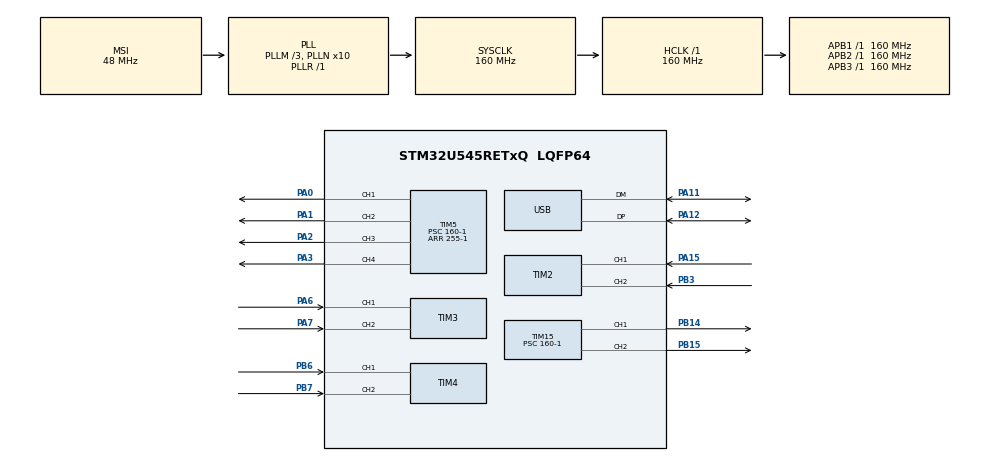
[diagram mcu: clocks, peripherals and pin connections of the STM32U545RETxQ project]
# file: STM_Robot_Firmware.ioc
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CORTEX_M33_NS.userName=CORTEX_M33
Mcu.Family=STM32U5
Mcu.Name=STM32U545RETxQ
Mcu.Package=LQFP64
NVIC.PriorityGroup=NVIC_PRIORITYGROUP_4
NVIC.TIM2_IRQn=true\:0\:0\:false\:false\:true\:false\:true\:true\:true
NVIC.TIM3_IRQn=true\:0\:0\:false\:false\:true\:false\:true\:true\:true
NVIC.TIM4_IRQn=true\:0\:0\:false\:false\:true\:false\:true\:true\:true
NVIC.TIM6_IRQn=true\:15\:0\:false\:false\:true\:false\:false\:true\:true
NVIC.TimeBase=TIM6_IRQn
NVIC.TimeBaseIP=TIM6
NVIC.USB_IRQn=true\:7\:0\:true\:false\:true\:false\:true\:true\:true
PA0.Signal=S_TIM5_CH1
PA1.Signal=S_TIM5_CH2
PA11.Mode=Device
PA11.Signal=USB_DM
PA12.Mode=Device
PA12.Signal=USB_DP
PA15\ (JTDI).Signal=S_TIM2_CH1
PA2.Signal=S_TIM5_CH3
PA3.Signal=S_TIM5_CH4
PA6.Signal=S_TIM3_CH1
PA7.Signal=S_TIM3_CH2
PB14.Signal=S_TIM15_CH1
PB15.Signal=S_TIM15_CH2
PB3\ (JTDO/TRACESWO).Signal=S_TIM2_CH2
PB6.Signal=S_TIM4_CH1
PB7.Signal=S_TIM4_CH2
PH0-OSC_IN\ (PH0).Mode=HSE-External-Clock-Source
PH0-OSC_IN\ (PH0).Signal=RCC_OSC_IN
PWR.PowerMode=PWR_SMPS_SUPPLY
ProjectManager.HeapSize=0x200
ProjectManager.StackSize=0x400
ProjectManager.TargetToolchain=STM32CubeIDE
RCC.ADCFreq_Value=16000000
RCC.AHBFreq_Value=160000000
RCC.APB1Freq_Value=160000000
RCC.APB1TimFreq_Value=160000000
RCC.APB2Freq_Value=160000000
RCC.APB2TimFreq_Value=160000000
RCC.APB3Freq_Value=160000000
RCC.CortexFreq_Value=160000000
RCC.DACCLockSelectionVirtual=RCC_DAC1CLKSOURCE_LSI
RCC.DACCLockSelectionVirtualString=RCC_DAC1CLKSOURCE_LSI
RCC.EPOD_VALUE=48000000
RCC.HCLKFreq_Value=160000000
RCC.HSE_VALUE=16000000
RCC.HSI48_VALUE=48000000
RCC.HSI_VALUE=16000000
RCC.LSE_VALUE=32768
RCC.LSIDIV_VALUE=32000
RCC.MSIClockRange=RCC_MSIRANGE_0
RCC.MSI_VALUE=48000000
RCC.PLL1R=1
RCC.PLL2FRACN=0
RCC.PLL3FRACN=0
RCC.PLLFRACN=0
RCC.PLLM=3
RCC.PLLN=10
RCC.SYSCLKFreq_VALUE=160000000
RCC.SYSCLKSource=RCC_SYSCLKSOURCE_PLLCLK
RCC.USBFreq_Value=48000000
RCC.VCOOutputFreq_Value=160000000
SH.S_TIM15_CH1.0=TIM15_CH1,PWM Generation1 CH1
SH.S_TIM15_CH2.0=TIM15_CH2,PWM Generation2 CH2
SH.S_TIM2_CH1.0=TIM2_CH1,Encoder_Interface
SH.S_TIM2_CH2.0=TIM2_CH2,Encoder_Interface
SH.S_TIM3_CH1.0=TIM3_CH1,Encoder_Interface
SH.S_TIM3_CH2.0=TIM3_CH2,Encoder_Interface
SH.S_TIM4_CH1.0=TIM4_CH1,Encoder_Interface
SH.S_TIM4_CH2.0=TIM4_CH2,Encoder_Interface
SH.S_TIM5_CH1.0=TIM5_CH1,PWM Generation1 CH1
SH.S_TIM5_CH2.0=TIM5_CH2,PWM Generation2 CH2
SH.S_TIM5_CH3.0=TIM5_CH3,PWM Generation3 CH3
SH.S_TIM5_CH4.0=TIM5_CH4,PWM Generation4 CH4
TIM15.Channel-PWM\ Generation1\ CH1=TIM_CHANNEL_1
TIM15.Channel-PWM\ Generation2\ CH2=TIM_CHANNEL_2
TIM15.PeriodNoDither=255-1
TIM15.Prescaler=160-1
TIM2.EncoderMode=TIM_ENCODERMODE_TI12
TIM3.EncoderMode=TIM_ENCODERMODE_TI12
TIM4.EncoderMode=TIM_ENCODERMODE_TI12
TIM5.Channel-PWM\ Generation1\ CH1=TIM_CHANNEL_1
TIM5.Channel-PWM\ Generation2\ CH2=TIM_CHANNEL_2
TIM5.Channel-PWM\ Generation3\ CH3=TIM_CHANNEL_3
TIM5.Channel-PWM\ Generation4\ CH4=TIM_CHANNEL_4
TIM5.PeriodNoDither=255-1
TIM5.Prescaler=160-1
USBX.Core_System=1
USBX.MAX_POWER_IN_MILLI_AMPER=0
USBX.USBD_CDCACM_EPINCMD_ADDR=2
USBX.USBD_CDCACM_EPIN_ADDR=1
USBX.USBD_PID=22336
USBX.USBD_PRODUCT_STRING=STM32 Virtual ComPort
USBX.USBD_SERIAL_NUMBER=CDC_ACM001
USBX.USBX_DEVICE_SYS_SIZE=4*1024
USBX.UX_DEVICE_APP_MEM_POOL_SIZE=11*1024
USBX.UX_DEVICE_CDC_ACM=1
USBX.UX_DEVICE_CLASS_CDC_ACM_WRITE_AUTO_ZLP=1
USBX.UX_Device_Controller=1
USBX.UX_Device_CoreStack=1
USBX.UX_MAX_SLAVE_CLASS_DRIVER=1
USBX.UX_SLAVE_REQUEST_DATA_MAX_LENGTH=512
VP_ICACHE_VS_ICACHE.Mode=DirectMappedCache
VP_LPBAMQUEUE_VS_QUEUE.Mode=QUEUEMODE
VP_LPBAM_VS_SIG1.Mode=SmartRun
VP_LPBAM_VS_SIG4.Mode=LPDMA1
VP_MEMORYMAP_VS_MEMORYMAP.Mode=CurAppReg
VP_PWR_VS_DBSignals.Mode=DisableDeadBatterySignals
VP_PWR_VS_LPOM.Mode=PowerOptimisation
VP_PWR_VS_SECSignals.Mode=Security/Privilege
VP_RCC_USB.Mode=CRS SYNC Source USB
VP_SYS_VS_tim6.Mode=TIM6
VP_THREADX_VS_RTOSJjThreadXJjCoreJjDefault.Mode=Core_Default
VP_TIM15_VS_ClockSourceINT.Mode=Internal
VP_TIM5_VS_ClockSourceINT.Mode=Internal
VP_USBX_Core_System.Mode=Core_System
VP_USBX_UX\ Device\ CDC\ ACM\ Class_FS.Mode=UX_Device_class_CDC_ACM_FS
VP_USBX_UX\ Device\ Controller_FS.Mode=UX_Device_Controller_FS
VP_USBX_UX\ Device\ CoreStack_FS.Mode=UX_Device_CoreStack_FS
board=custom

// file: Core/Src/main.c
/* USER CODE BEGIN Header */
/**
  ******************************************************************************
  * @file           : main.c
  * @brief          : Main program body
  ******************************************************************************
  * @attention
  *
  * Copyright (c) 2025 STMicroelectronics.
  * All rights reserved.
  *
  * This software is licensed under terms that can be found in the LICENSE file
  * in the root directory of this software component.
  * If no LICENSE file comes with this software, it is provided AS-IS.
  *
  ******************************************************************************
  */
/* USER CODE END Header */
#include "app_threadx.h"
#include "main.h"

/* USER CODE BEGIN Includes */

#include "defines.h"
#include "pin_mapping.h"
#include "robot_data.h"

/* USER CODE END Includes */

TIM_HandleTypeDef htim2;
TIM_HandleTypeDef htim3;
TIM_HandleTypeDef htim4;
TIM_HandleTypeDef htim5;
TIM_HandleTypeDef htim15;

PCD_HandleTypeDef hpcd_USB_DRD_FS;

/* USER CODE BEGIN PV */

Motors motors_data[3];

/* USER CODE END PV */

void SystemClock_Config(void);
static void SystemPower_Config(void);
static void MX_GPIO_Init(void);
static void MX_ICACHE_Init(void);
static void MX_TIM2_Init(void);
static void MX_TIM3_Init(void);
static void MX_TIM4_Init(void);
static void MX_TIM5_Init(void);
static void MX_TIM15_Init(void);

/* USER CODE BEGIN 0 */

void HAL_TIM_IC_CaptureCallback(TIM_HandleTypeDef *htim)
{
	if(htim == ENCODER_0)
	{
		motors_data[0].encoder.last_count = __HAL_TIM_GET_COUNTER(htim);
	}
	else if (htim == ENCODER_1)
	{
		motors_data[1].encoder.last_count = __HAL_TIM_GET_COUNTER(htim);
	}
	else
	{
		motors_data[2].encoder.last_count = __HAL_TIM_GET_COUNTER(htim);
	}
}

/* USER CODE END 0 */

int main(void)
{

  /* MCU Configuration--------------------------------------------------------*/

  /* Reset of all peripherals, Initializes the Flash interface and the Systick. */
  HAL_Init();

  /* USER CODE BEGIN Init */

  Init_Motors_Data();

  /* USER CODE END Init */

  /* Configure the System Power */
  SystemPower_Config();

  /* Configure the system clock */
  SystemClock_Config();

  /* Initialize all configured peripherals */
  MX_GPIO_Init();
  MX_ICACHE_Init();
  MX_TIM2_Init();
  MX_TIM3_Init();
  MX_TIM4_Init();
  MX_TIM5_Init();
  MX_TIM15_Init();
  /* USER CODE BEGIN 2 */

	HAL_TIM_Encoder_Start_IT(ENCODER_0, TIM_CHANNEL_ALL);
	HAL_TIM_Encoder_Start_IT(ENCODER_1, TIM_CHANNEL_ALL);
	HAL_TIM_Encoder_Start_IT(ENCODER_2, TIM_CHANNEL_ALL);

  HAL_TIM_PWM_Start(&htim5, TIM_CHANNEL_1);
  HAL_TIM_PWM_Start(&htim5, TIM_CHANNEL_2);
  HAL_TIM_PWM_Start(&htim5, TIM_CHANNEL_3);
  HAL_TIM_PWM_Start(&htim5, TIM_CHANNEL_4);
  HAL_TIM_PWM_Start(&htim15, TIM_CHANNEL_1);
  HAL_TIM_PWM_Start(&htim15, TIM_CHANNEL_2);

  /* USER CODE END 2 */

  MX_ThreadX_Init();

  /* We should never get here as control is now taken by the scheduler */

  /* Infinite loop */
  while (1)
  {

  }
}

void SystemClock_Config(void)
{
  RCC_OscInitTypeDef RCC_OscInitStruct = {0};
  RCC_ClkInitTypeDef RCC_ClkInitStruct = {0};
  RCC_CRSInitTypeDef RCC_CRSInitStruct = {0};

  /** Configure the main internal regulator output voltage
  */
  if (HAL_PWREx_ControlVoltageScaling(PWR_REGULATOR_VOLTAGE_SCALE1) != HAL_OK)
  {
    Error_Handler();
  }

  /** Initializes the CPU, AHB and APB buses clocks
  */
  RCC_OscInitStruct.OscillatorType = RCC_OSCILLATORTYPE_HSI48|RCC_OSCILLATORTYPE_MSI;
  RCC_OscInitStruct.HSI48State = RCC_HSI48_ON;
  RCC_OscInitStruct.MSIState = RCC_MSI_ON;
  RCC_OscInitStruct.MSICalibrationValue = RCC_MSICALIBRATION_DEFAULT;
  RCC_OscInitStruct.MSIClockRange = RCC_MSIRANGE_0;
  RCC_OscInitStruct.PLL.PLLState = RCC_PLL_ON;
  RCC_OscInitStruct.PLL.PLLSource = RCC_PLLSOURCE_MSI;
  RCC_OscInitStruct.PLL.PLLMBOOST = RCC_PLLMBOOST_DIV4;
  RCC_OscInitStruct.PLL.PLLM = 3;
  RCC_OscInitStruct.PLL.PLLN = 10;
  RCC_OscInitStruct.PLL.PLLP = 2;
  RCC_OscInitStruct.PLL.PLLQ = 2;
  RCC_OscInitStruct.PLL.PLLR = 1;
  RCC_OscInitStruct.PLL.PLLRGE = RCC_PLLVCIRANGE_1;
  RCC_OscInitStruct.PLL.PLLFRACN = 0;
  if (HAL_RCC_OscConfig(&RCC_OscInitStruct) != HAL_OK)
  {
    Error_Handler();
  }

  /** Initializes the CPU, AHB and APB buses clocks
  */
  RCC_ClkInitStruct.ClockType = RCC_CLOCKTYPE_HCLK|RCC_CLOCKTYPE_SYSCLK
                              |RCC_CLOCKTYPE_PCLK1|RCC_CLOCKTYPE_PCLK2
                              |RCC_CLOCKTYPE_PCLK3;
  RCC_ClkInitStruct.SYSCLKSource = RCC_SYSCLKSOURCE_PLLCLK;
  RCC_ClkInitStruct.AHBCLKDivider = RCC_SYSCLK_DIV1;
  RCC_ClkInitStruct.APB1CLKDivider = RCC_HCLK_DIV1;
  RCC_ClkInitStruct.APB2CLKDivider = RCC_HCLK_DIV1;
  RCC_ClkInitStruct.APB3CLKDivider = RCC_HCLK_DIV1;

  if (HAL_RCC_ClockConfig(&RCC_ClkInitStruct, FLASH_LATENCY_4) != HAL_OK)
  {
    Error_Handler();
  }

  /** Enable the SYSCFG APB clock
  */
  __HAL_RCC_CRS_CLK_ENABLE();

  /** Configures CRS
  */
  RCC_CRSInitStruct.Prescaler = RCC_CRS_SYNC_DIV1;
  RCC_CRSInitStruct.Source = RCC_CRS_SYNC_SOURCE_USB;
  RCC_CRSInitStruct.Polarity = RCC_CRS_SYNC_POLARITY_RISING;
  RCC_CRSInitStruct.ReloadValue = __HAL_RCC_CRS_RELOADVALUE_CALCULATE(48000000,1000);
  RCC_CRSInitStruct.ErrorLimitValue = 34;
  RCC_CRSInitStruct.HSI48CalibrationValue = 32;

  HAL_RCCEx_CRSConfig(&RCC_CRSInitStruct);
}

/**
  * @brief Power Configuration
  * @retval None
  */
static void SystemPower_Config(void)
{

  /*
   * Switch to SMPS regulator instead of LDO
   */
  if (HAL_PWREx_ConfigSupply(PWR_SMPS_SUPPLY) != HAL_OK)
  {
    Error_Handler();
  }
}

static void MX_ICACHE_Init(void)
{

  /** Enable instruction cache in 1-way (direct mapped cache)
  */
  if (HAL_ICACHE_ConfigAssociativityMode(ICACHE_1WAY) != HAL_OK)
  {
    Error_Handler();
  }
  if (HAL_ICACHE_Enable() != HAL_OK)
  {
    Error_Handler();
  }

}

static void MX_TIM2_Init(void)
{

  TIM_Encoder_InitTypeDef sConfig = {0};
  TIM_MasterConfigTypeDef sMasterConfig = {0};

  htim2.Instance = TIM2;
  htim2.Init.Prescaler = 0;
  htim2.Init.CounterMode = TIM_COUNTERMODE_UP;
  htim2.Init.Period = 4294967295;
  htim2.Init.ClockDivision = TIM_CLOCKDIVISION_DIV1;
  htim2.Init.AutoReloadPreload = TIM_AUTORELOAD_PRELOAD_DISABLE;
  sConfig.EncoderMode = TIM_ENCODERMODE_TI12;
  sConfig.IC1Polarity = TIM_ICPOLARITY_RISING;
  sConfig.IC1Selection = TIM_ICSELECTION_DIRECTTI;
  sConfig.IC1Prescaler = TIM_ICPSC_DIV1;
  sConfig.IC1Filter = 0;
  sConfig.IC2Polarity = TIM_ICPOLARITY_RISING;
  sConfig.IC2Selection = TIM_ICSELECTION_DIRECTTI;
  sConfig.IC2Prescaler = TIM_ICPSC_DIV1;
  sConfig.IC2Filter = 0;
  if (HAL_TIM_Encoder_Init(&htim2, &sConfig) != HAL_OK)
  {
    Error_Handler();
  }
  sMasterConfig.MasterOutputTrigger = TIM_TRGO_RESET;
  sMasterConfig.MasterSlaveMode = TIM_MASTERSLAVEMODE_DISABLE;
  if (HAL_TIMEx_MasterConfigSynchronization(&htim2, &sMasterConfig) != HAL_OK)
  {
    Error_Handler();
  }

}

static void MX_TIM3_Init(void)
{

  TIM_Encoder_InitTypeDef sConfig = {0};
  TIM_MasterConfigTypeDef sMasterConfig = {0};

  htim3.Instance = TIM3;
  htim3.Init.Prescaler = 0;
  htim3.Init.CounterMode = TIM_COUNTERMODE_UP;
  htim3.Init.Period = 4294967295;
  htim3.Init.ClockDivision = TIM_CLOCKDIVISION_DIV1;
  htim3.Init.AutoReloadPreload = TIM_AUTORELOAD_PRELOAD_DISABLE;
  sConfig.EncoderMode = TIM_ENCODERMODE_TI12;
  sConfig.IC1Polarity = TIM_ICPOLARITY_RISING;
  sConfig.IC1Selection = TIM_ICSELECTION_DIRECTTI;
  sConfig.IC1Prescaler = TIM_ICPSC_DIV1;
  sConfig.IC1Filter = 0;
  sConfig.IC2Polarity = TIM_ICPOLARITY_RISING;
  sConfig.IC2Selection = TIM_ICSELECTION_DIRECTTI;
  sConfig.IC2Prescaler = TIM_ICPSC_DIV1;
  sConfig.IC2Filter = 0;
  if (HAL_TIM_Encoder_Init(&htim3, &sConfig) != HAL_OK)
  {
    Error_Handler();
  }
  sMasterConfig.MasterOutputTrigger = TIM_TRGO_RESET;
  sMasterConfig.MasterSlaveMode = TIM_MASTERSLAVEMODE_DISABLE;
  if (HAL_TIMEx_MasterConfigSynchronization(&htim3, &sMasterConfig) != HAL_OK)
  {
    Error_Handler();
  }

}

static void MX_TIM4_Init(void)
{

  TIM_Encoder_InitTypeDef sConfig = {0};
  TIM_MasterConfigTypeDef sMasterConfig = {0};

  htim4.Instance = TIM4;
  htim4.Init.Prescaler = 0;
  htim4.Init.CounterMode = TIM_COUNTERMODE_UP;
  htim4.Init.Period = 4294967295;
  htim4.Init.ClockDivision = TIM_CLOCKDIVISION_DIV1;
  htim4.Init.AutoReloadPreload = TIM_AUTORELOAD_PRELOAD_DISABLE;
  sConfig.EncoderMode = TIM_ENCODERMODE_TI12;
  sConfig.IC1Polarity = TIM_ICPOLARITY_RISING;
  sConfig.IC1Selection = TIM_ICSELECTION_DIRECTTI;
  sConfig.IC1Prescaler = TIM_ICPSC_DIV1;
  sConfig.IC1Filter = 0;
  sConfig.IC2Polarity = TIM_ICPOLARITY_RISING;
  sConfig.IC2Selection = TIM_ICSELECTION_DIRECTTI;
  sConfig.IC2Prescaler = TIM_ICPSC_DIV1;
  sConfig.IC2Filter = 0;
  if (HAL_TIM_Encoder_Init(&htim4, &sConfig) != HAL_OK)
  {
    Error_Handler();
  }
  sMasterConfig.MasterOutputTrigger = TIM_TRGO_RESET;
  sMasterConfig.MasterSlaveMode = TIM_MASTERSLAVEMODE_DISABLE;
  if (HAL_TIMEx_MasterConfigSynchronization(&htim4, &sMasterConfig) != HAL_OK)
  {
    Error_Handler();
  }

}

static void MX_TIM5_Init(void)
{

  TIM_ClockConfigTypeDef sClockSourceConfig = {0};
  TIM_MasterConfigTypeDef sMasterConfig = {0};
  TIM_OC_InitTypeDef sConfigOC = {0};

  htim5.Instance = TIM5;
  htim5.Init.Prescaler = 160-1;
  htim5.Init.CounterMode = TIM_COUNTERMODE_UP;
  htim5.Init.Period = 254;
  htim5.Init.ClockDivision = TIM_CLOCKDIVISION_DIV1;
  htim5.Init.AutoReloadPreload = TIM_AUTORELOAD_PRELOAD_DISABLE;
  if (HAL_TIM_Base_Init(&htim5) != HAL_OK)
  {
    Error_Handler();
  }
  sClockSourceConfig.ClockSource = TIM_CLOCKSOURCE_INTERNAL;
  if (HAL_TIM_ConfigClockSource(&htim5, &sClockSourceConfig) != HAL_OK)
  {
    Error_Handler();
  }
  if (HAL_TIM_PWM_Init(&htim5) != HAL_OK)
  {
    Error_Handler();
  }
  sMasterConfig.MasterOutputTrigger = TIM_TRGO_RESET;
  sMasterConfig.MasterSlaveMode = TIM_MASTERSLAVEMODE_DISABLE;
  if (HAL_TIMEx_MasterConfigSynchronization(&htim5, &sMasterConfig) != HAL_OK)
  {
    Error_Handler();
  }
  sConfigOC.OCMode = TIM_OCMODE_PWM1;
  sConfigOC.Pulse = 0;
  sConfigOC.OCPolarity = TIM_OCPOLARITY_HIGH;
  sConfigOC.OCFastMode = TIM_OCFAST_DISABLE;
  if (HAL_TIM_PWM_ConfigChannel(&htim5, &sConfigOC, TIM_CHANNEL_1) != HAL_OK)
  {
    Error_Handler();
  }
  if (HAL_TIM_PWM_ConfigChannel(&htim5, &sConfigOC, TIM_CHANNEL_2) != HAL_OK)
  {
    Error_Handler();
  }
  if (HAL_TIM_PWM_ConfigChannel(&htim5, &sConfigOC, TIM_CHANNEL_3) != HAL_OK)
  {
    Error_Handler();
  }
  if (HAL_TIM_PWM_ConfigChannel(&htim5, &sConfigOC, TIM_CHANNEL_4) != HAL_OK)
  {
    Error_Handler();
  }
  HAL_TIM_MspPostInit(&htim5);

}

static void MX_TIM15_Init(void)
{

  TIM_ClockConfigTypeDef sClockSourceConfig = {0};
  TIM_MasterConfigTypeDef sMasterConfig = {0};
  TIM_OC_InitTypeDef sConfigOC = {0};
  TIM_BreakDeadTimeConfigTypeDef sBreakDeadTimeConfig = {0};

  htim15.Instance = TIM15;
  htim15.Init.Prescaler = 160-1;
  htim15.Init.CounterMode = TIM_COUNTERMODE_UP;
  htim15.Init.Period = 254;
  htim15.Init.ClockDivision = TIM_CLOCKDIVISION_DIV1;
  htim15.Init.RepetitionCounter = 0;
  htim15.Init.AutoReloadPreload = TIM_AUTORELOAD_PRELOAD_DISABLE;
  if (HAL_TIM_Base_Init(&htim15) != HAL_OK)
  {
    Error_Handler();
  }
  sClockSourceConfig.ClockSource = TIM_CLOCKSOURCE_INTERNAL;
  if (HAL_TIM_ConfigClockSource(&htim15, &sClockSourceConfig) != HAL_OK)
  {
    Error_Handler();
  }
  if (HAL_TIM_PWM_Init(&htim15) != HAL_OK)
  {
    Error_Handler();
  }
  sMasterConfig.MasterOutputTrigger = TIM_TRGO_RESET;
  sMasterConfig.MasterSlaveMode = TIM_MASTERSLAVEMODE_DISABLE;
  if (HAL_TIMEx_MasterConfigSynchronization(&htim15, &sMasterConfig) != HAL_OK)
  {
    Error_Handler();
  }
  sConfigOC.OCMode = TIM_OCMODE_PWM1;
  sConfigOC.Pulse = 0;
  sConfigOC.OCPolarity = TIM_OCPOLARITY_HIGH;
  sConfigOC.OCNPolarity = TIM_OCNPOLARITY_HIGH;
  sConfigOC.OCFastMode = TIM_OCFAST_DISABLE;
  sConfigOC.OCIdleState = TIM_OCIDLESTATE_RESET;
  sConfigOC.OCNIdleState = TIM_OCNIDLESTATE_RESET;
  if (HAL_TIM_PWM_ConfigChannel(&htim15, &sConfigOC, TIM_CHANNEL_1) != HAL_OK)
  {
    Error_Handler();
  }
  if (HAL_TIM_PWM_ConfigChannel(&htim15, &sConfigOC, TIM_CHANNEL_2) != HAL_OK)
  {
    Error_Handler();
  }
  sBreakDeadTimeConfig.OffStateRunMode = TIM_OSSR_DISABLE;
  sBreakDeadTimeConfig.OffStateIDLEMode = TIM_OSSI_DISABLE;
  sBreakDeadTimeConfig.LockLevel = TIM_LOCKLEVEL_OFF;
  sBreakDeadTimeConfig.DeadTime = 0;
  sBreakDeadTimeConfig.BreakState = TIM_BREAK_DISABLE;
  sBreakDeadTimeConfig.BreakPolarity = TIM_BREAKPOLARITY_HIGH;
  sBreakDeadTimeConfig.BreakFilter = 0;
  sBreakDeadTimeConfig.AutomaticOutput = TIM_AUTOMATICOUTPUT_DISABLE;
  if (HAL_TIMEx_ConfigBreakDeadTime(&htim15, &sBreakDeadTimeConfig) != HAL_OK)
  {
    Error_Handler();
  }
  HAL_TIM_MspPostInit(&htim15);

}

void MX_USB_DRD_FS_PCD_Init(void)
{

  hpcd_USB_DRD_FS.Instance = USB_DRD_FS;
  hpcd_USB_DRD_FS.Init.dev_endpoints = 8;
  hpcd_USB_DRD_FS.Init.speed = PCD_SPEED_FULL;
  hpcd_USB_DRD_FS.Init.phy_itface = PCD_PHY_EMBEDDED;
  hpcd_USB_DRD_FS.Init.Sof_enable = DISABLE;
  hpcd_USB_DRD_FS.Init.low_power_enable = DISABLE;
  hpcd_USB_DRD_FS.Init.lpm_enable = DISABLE;
  hpcd_USB_DRD_FS.Init.battery_charging_enable = DISABLE;
  hpcd_USB_DRD_FS.Init.vbus_sensing_enable = DISABLE;
  hpcd_USB_DRD_FS.Init.bulk_doublebuffer_enable = DISABLE;
  hpcd_USB_DRD_FS.Init.iso_singlebuffer_enable = DISABLE;
  if (HAL_PCD_Init(&hpcd_USB_DRD_FS) != HAL_OK)
  {
    Error_Handler();
  }

}

static void MX_GPIO_Init(void)
{

  /* GPIO Ports Clock Enable */
  __HAL_RCC_GPIOH_CLK_ENABLE();
  __HAL_RCC_GPIOA_CLK_ENABLE();
  __HAL_RCC_GPIOB_CLK_ENABLE();

}

void HAL_TIM_PeriodElapsedCallback(TIM_HandleTypeDef *htim)
{
  if (htim->Instance == TIM6) {
    HAL_IncTick();
  }
}

void Error_Handler(void)
{
  __disable_irq();
  while (1)
  {
  }
}
